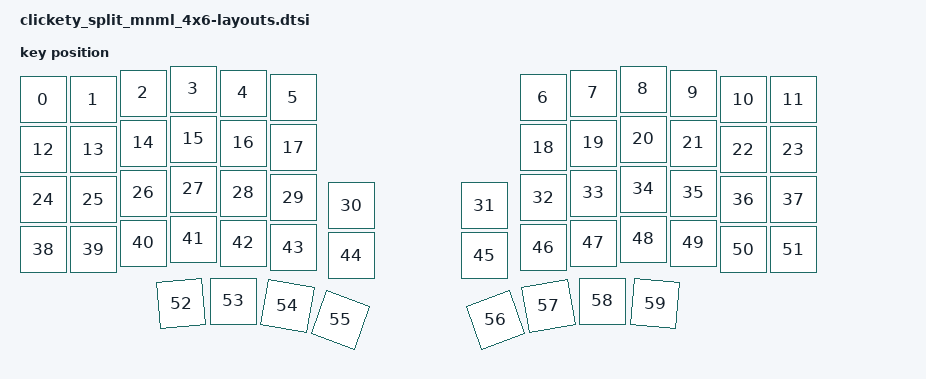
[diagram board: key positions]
/*
 * Copyright (c) 2025 Clickety Split Ltd.
 * SPDX-License-Identifier: MIT
 */

#include <physical_layouts.dtsi>

/ {
    mnml_4x6_layout: mnml_4x6_layout {
        compatible = "zmk,physical-layout";
        display-name = "MNML 4x6";

        /*
         * Physical switch geometry derived from the MNML 4x6 CAD model.
         *
         * Units:
         *   w, h, x, y: centi-keyunits (100 = 1U)
         *   rot:         centidegrees
         *
         * The two halves use a fixed visual separation for Studio rendering.
         * This separation is not a physical constraint on the split keyboard.
         *
         * keys are listed in the same order as default_transform.
         */
        keys  //                     w   h     x    y      rot    rx    ry

            // Row 0
            = <&key_physical_attrs 100 100     0   21        0     0     0>
            , <&key_physical_attrs 100 100   100   21        0     0     0>
            , <&key_physical_attrs 100 100   200    8        0     0     0>
            , <&key_physical_attrs 100 100   300    0        0     0     0>
            , <&key_physical_attrs 100 100   400    8        0     0     0>
            , <&key_physical_attrs 100 100   500   17        0     0     0>

            , <&key_physical_attrs 100 100  1000   17        0     0     0>
            , <&key_physical_attrs 100 100  1100    8        0     0     0>
            , <&key_physical_attrs 100 100  1200    0        0     0     0>
            , <&key_physical_attrs 100 100  1300    8        0     0     0>
            , <&key_physical_attrs 100 100  1400   21        0     0     0>
            , <&key_physical_attrs 100 100  1500   21        0     0     0>

            // Row 1
            , <&key_physical_attrs 100 100     0  121        0     0     0>
            , <&key_physical_attrs 100 100   100  121        0     0     0>
            , <&key_physical_attrs 100 100   200  108        0     0     0>
            , <&key_physical_attrs 100 100   300  100        0     0     0>
            , <&key_physical_attrs 100 100   400  108        0     0     0>
            , <&key_physical_attrs 100 100   500  117        0     0     0>

            , <&key_physical_attrs 100 100  1000  117        0     0     0>
            , <&key_physical_attrs 100 100  1100  108        0     0     0>
            , <&key_physical_attrs 100 100  1200  100        0     0     0>
            , <&key_physical_attrs 100 100  1300  108        0     0     0>
            , <&key_physical_attrs 100 100  1400  121        0     0     0>
            , <&key_physical_attrs 100 100  1500  121        0     0     0>

            // Row 2, including the inner key on each half
            , <&key_physical_attrs 100 100     0  221        0     0     0>
            , <&key_physical_attrs 100 100   100  221        0     0     0>
            , <&key_physical_attrs 100 100   200  208        0     0     0>
            , <&key_physical_attrs 100 100   300  200        0     0     0>
            , <&key_physical_attrs 100 100   400  208        0     0     0>
            , <&key_physical_attrs 100 100   500  217        0     0     0>
            , <&key_physical_attrs 100 100   617  233        0     0     0>

            , <&key_physical_attrs 100 100   883  233        0     0     0>
            , <&key_physical_attrs 100 100  1000  217        0     0     0>
            , <&key_physical_attrs 100 100  1100  208        0     0     0>
            , <&key_physical_attrs 100 100  1200  200        0     0     0>
            , <&key_physical_attrs 100 100  1300  208        0     0     0>
            , <&key_physical_attrs 100 100  1400  221        0     0     0>
            , <&key_physical_attrs 100 100  1500  221        0     0     0>

            // Row 3, including the inner key on each half
            , <&key_physical_attrs 100 100     0  321        0     0     0>
            , <&key_physical_attrs 100 100   100  321        0     0     0>
            , <&key_physical_attrs 100 100   200  308        0     0     0>
            , <&key_physical_attrs 100 100   300  300        0     0     0>
            , <&key_physical_attrs 100 100   400  308        0     0     0>
            , <&key_physical_attrs 100 100   500  317        0     0     0>
            , <&key_physical_attrs 100 100   617  333        0     0     0>

            , <&key_physical_attrs 100 100   883  333        0     0     0>
            , <&key_physical_attrs 100 100  1000  317        0     0     0>
            , <&key_physical_attrs 100 100  1100  308        0     0     0>
            , <&key_physical_attrs 100 100  1200  300        0     0     0>
            , <&key_physical_attrs 100 100  1300  308        0     0     0>
            , <&key_physical_attrs 100 100  1400  321        0     0     0>
            , <&key_physical_attrs 100 100  1500  321        0     0     0>

            // Modifier / thumb row
            , <&key_physical_attrs 100 100   276  429   (-500)   326   479>
            , <&key_physical_attrs 100 100   381  424         0     0     0>
            , <&key_physical_attrs 100 100   489  434      1000   539   484>
            , <&key_physical_attrs 100 100   595  462      2000   645   512>

            , <&key_physical_attrs 100 100   905  462   (-2000)   955   512>
            , <&key_physical_attrs 100 100  1011  434   (-1000)  1061   484>
            , <&key_physical_attrs 100 100  1119  424         0     0     0>
            , <&key_physical_attrs 100 100  1224  429       500  1274   479>
            ;
    };
};
